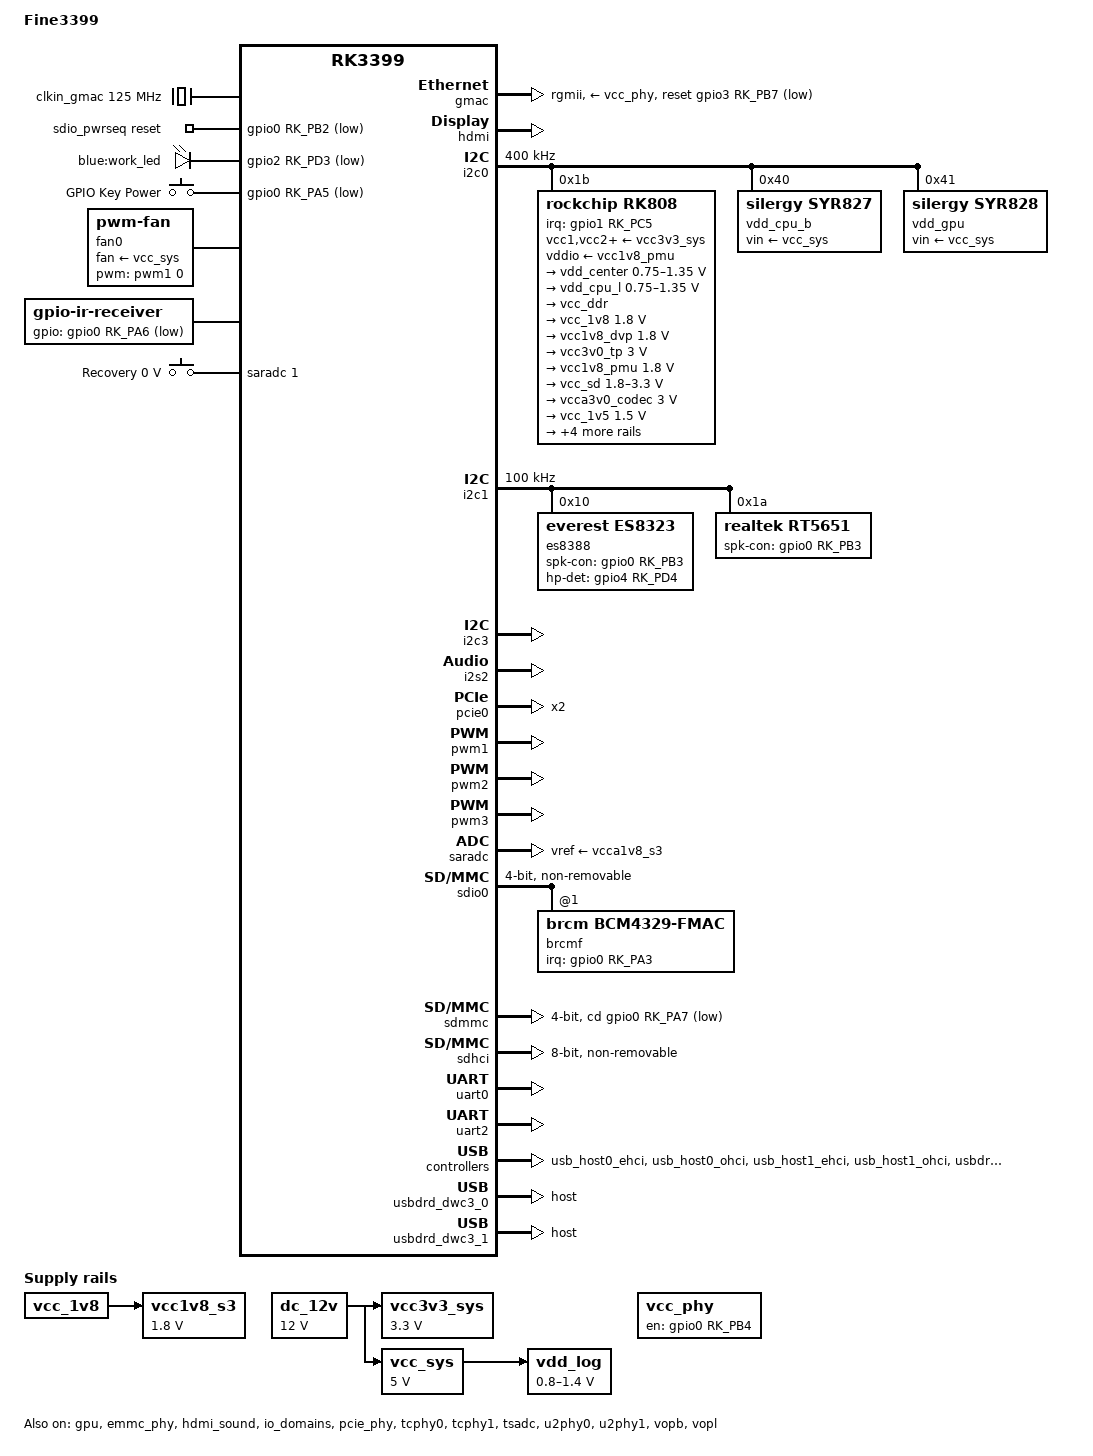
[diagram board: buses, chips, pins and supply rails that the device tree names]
// SPDX-License-Identifier: (GPL-2.0+ OR MIT)
/*
 * Copyright (c) 2023 https://github.com/cm9vdA/build-linux
 */

/dts-v1/;

#include <dt-bindings/input/linux-event-codes.h>
#include <dt-bindings/pwm/pwm.h>
#include <dt-bindings/input/input.h>
#include "rk3399.dtsi"
#include "rk3399-opp.dtsi"


/ {
	model = "Fine3399";
	compatible = "rockchip,rk3399";

	aliases {
		mmc0 = &sdio0;
		mmc1 = &sdmmc;
		mmc2 = &sdhci;
	};

	chosen {
		stdout-path = "serial2:1500000n8";
	};

	clkin_gmac: external-gmac-clock {
		compatible = "fixed-clock";
		clock-frequency = <125000000>;
		clock-output-names = "clkin_gmac";
		#clock-cells = <0>;
	};

	dc_12v: dc-12v {
		compatible = "regulator-fixed";
		regulator-name = "dc_12v";
		regulator-always-on;
		regulator-boot-on;
		regulator-min-microvolt = <12000000>;
		regulator-max-microvolt = <12000000>;
	};

	sdio_pwrseq: sdio-pwrseq {
		compatible = "mmc-pwrseq-simple";
		clocks = <&rk808 1>;
		clock-names = "ext_clock";
		pinctrl-names = "default";
		pinctrl-0 = <&wifi_reg_on_h>;
		reset-gpios = <&gpio0 RK_PB2 GPIO_ACTIVE_LOW>; // bsp
	};

	/* switched by pmic_sleep */
	vcc1v8_s3: vcca1v8_s3: vcc1v8-s3 {
		compatible = "regulator-fixed";
		regulator-name = "vcc1v8_s3";
		regulator-always-on;
		regulator-boot-on;
		regulator-min-microvolt = <1800000>;
		regulator-max-microvolt = <1800000>;
		vin-supply = <&vcc_1v8>;
	};

	vcc3v3_sys: vcc3v3_pcie: vcc3v3_bl: vcc3v3-sys { // sch
		compatible = "regulator-fixed";
		regulator-name = "vcc3v3_sys";
		regulator-always-on;
		regulator-boot-on;
		regulator-min-microvolt = <3300000>;
		regulator-max-microvolt = <3300000>;
		vin-supply = <&dc_12v>;
	};

	vcc_sys: vcc-sys { // sch
		compatible = "regulator-fixed";
		regulator-name = "vcc_sys";
		regulator-always-on;
		regulator-boot-on;
		regulator-min-microvolt = <5000000>;
		regulator-max-microvolt = <5000000>;
		vin-supply = <&dc_12v>;
	};

	vcc_phy: vcc-phy-regulator {
		compatible = "regulator-fixed";
		enable-active-high;
		gpio = <&gpio0 RK_PB4 GPIO_ACTIVE_HIGH>;
		pinctrl-names = "default";
		pinctrl-0 = <&vcc_phy_h>;
		regulator-name = "vcc_phy";
		regulator-always-on;
		regulator-boot-on;
	};

	vdd_log: vdd-log {
		compatible = "pwm-regulator";
		pwms = <&pwm2 0 25000 1>;
		regulator-name = "vdd_log";
		regulator-always-on;
		regulator-boot-on;
		regulator-min-microvolt = <800000>;
		regulator-max-microvolt = <1400000>;
		vin-supply = <&vcc_sys>;
	};
	
	es8388_sound: es8388-sound {
		compatible = "simple-audio-card";
		simple-audio-card,format = "i2s";
		simple-audio-card,name = "rockchip,es8388-codec";
		simple-audio-card,mclk-fs = <256>;
		simple-audio-card,widgets = "Microphone", "Mic Jack", "Headphone", "Headphone Jack";
		simple-audio-card,routing = "Mic Jack", "MICBIAS1", "IN1P", "Mic Jack", "Headphone Jack", "HPOL", "Headphone Jack", "HPOR";
		status = "okay";

		simple-audio-card,cpu {
			sound-dai = <&i2s1>;
			system-clock-frequency = <0xac4400>;
		};

		simple-audio-card,codec {
			sound-dai = <&es8388>;
			system-clock-frequency = <0xac4400>;
		};
	};

	rt5651_sound: rt5651-sound {
		compatible = "simple-audio-card";
		simple-audio-card,format = "i2s";
		simple-audio-card,name = "realtek,rt5651-codec";
		simple-audio-card,mclk-fs = <256>;
		simple-audio-card,widgets = "Microphone", "Mic Jack", "Headphone", "Headphone Jack";
		simple-audio-card,routing = "Mic Jack", "MICBIAS1", "IN1P", "Mic Jack", "Headphone Jack", "HPOL", "Headphone Jack", "HPOR";
		status = "disabled";

		simple-audio-card,cpu {
			sound-dai = <&i2s1>;
		};

		simple-audio-card,codec {
			sound-dai = <&rt5651>;
		};
	};

	leds: gpio-leds {
		compatible = "gpio-leds";
		pinctrl-names = "default";
		pinctrl-0 = <&user_led2>;

		user_led2 {
			label = "blue:work_led";
			gpios = <&gpio2 RK_PD3 GPIO_ACTIVE_LOW>; // sch
			linux,default-trigger = "heartbeat";
		};
	};

	gpio-keys {
		compatible = "gpio-keys";
		autorepeat;
		pinctrl-names = "default";
		pinctrl-0 = <&power_key>;

		power {
			debounce-interval = <100>;
			gpios = <&gpio0 RK_PA5 GPIO_ACTIVE_LOW>; // bsp
			label = "GPIO Key Power";
			linux,code = <KEY_POWER>;
			wakeup-source;
		};
	};

	fan0: pwm-fan {
		compatible = "pwm-fan";
		cooling-levels = <0 150 200 255>;
		#cooling-cells = <2>;
		fan-supply = <&vcc_sys>;
		pwms = <&pwm1 0 40000 0>;
	};

	// pwm3
	ir-receiver {
		compatible = "gpio-ir-receiver";
		gpios = <&gpio0 RK_PA6 GPIO_ACTIVE_LOW>;
		pinctrl-names = "default";
		pinctrl-0 = <&ir_int>;
	};

	adc-keys {
		compatible = "adc-keys";
		io-channels = <&saradc 1>;
		io-channel-names = "buttons";
		keyup-threshold-microvolt = <1750000>;
		poll-interval = <100>;

		recovery {
			label = "Recovery";
			linux,code = <KEY_VENDOR>; // ??
			press-threshold-microvolt = <0>;
		};
	};

};

&cpu_l0 {
	cpu-supply = <&vdd_cpu_l>;
};

&cpu_l1 {
	cpu-supply = <&vdd_cpu_l>;
};

&cpu_l2 {
	cpu-supply = <&vdd_cpu_l>;
};

&cpu_l3 {
	cpu-supply = <&vdd_cpu_l>;
};

&cpu_b0 {
	cpu-supply = <&vdd_cpu_b>;
};

&cpu_b1 {
	cpu-supply = <&vdd_cpu_b>;
};

&gpu {
	mali-supply = <&vdd_gpu>;
	status = "okay";
};

&cpu_thermal {
	trips {
		cpu_hot: cpu_hot {
			hysteresis = <10000>;
			temperature = <55000>;
			type = "active";
		};
	};

	cooling-maps {
		map2 {
			cooling-device =
				<&fan0 THERMAL_NO_LIMIT THERMAL_NO_LIMIT>;
			trip = <&cpu_hot>;
		};
	};
};

&emmc_phy {
	status = "okay";
};

&gmac {
	assigned-clocks = <&cru SCLK_RMII_SRC>;
	assigned-clock-parents = <&clkin_gmac>;
	clock_in_out = "input";
	phy-supply = <&vcc_phy>;
	phy-mode = "rgmii";
	pinctrl-names = "default";
	pinctrl-0 = <&rgmii_pins>;
	snps,reset-gpio = <&gpio3 RK_PB7 GPIO_ACTIVE_LOW>; // bsp
	snps,reset-active-low;
	snps,reset-delays-us = <0 10000 50000>;
	tx_delay = <0x28>;
	rx_delay = <0x11>;
	status = "okay";
};

&hdmi {
	ddc-i2c-bus = <&i2c3>;
	pinctrl-names = "default";
	pinctrl-0 = <&hdmi_cec>;
	status = "okay";
};

&hdmi_sound {
    simple-audio-card,name = "rockchip,hdmi";
	status = "okay";
};

&i2c0 {
	clock-frequency = <400000>;
	i2c-scl-rising-time-ns = <168>;
	i2c-scl-falling-time-ns = <4>;
	status = "okay";

	rk808: pmic@1b {
		compatible = "rockchip,rk808";
		reg = <0x1b>;
		interrupt-parent = <&gpio1>;
		interrupts = <RK_PC5 IRQ_TYPE_LEVEL_LOW>;
		#clock-cells = <1>;
		clock-output-names = "xin32k", "rk808-clkout2";
		pinctrl-names = "default";
		pinctrl-0 = <&pmic_int_l &pmic_dvs2>;
		rockchip,system-power-controller;
		wakeup-source;

		vcc1-supply = <&vcc3v3_sys>;
		vcc2-supply = <&vcc3v3_sys>;
		vcc3-supply = <&vcc3v3_sys>;
		vcc4-supply = <&vcc3v3_sys>;
		vcc6-supply = <&vcc3v3_sys>;
		vcc7-supply = <&vcc3v3_sys>;
		vcc8-supply = <&vcc3v3_sys>;
		vcc9-supply = <&vcc3v3_sys>;
		vcc10-supply = <&vcc3v3_sys>;
		vcc11-supply = <&vcc3v3_sys>;
		vcc12-supply = <&vcc3v3_sys>;
		vddio-supply = <&vcc1v8_pmu>;

		regulators {
			vdd_center: DCDC_REG1 {
				regulator-name = "vdd_center";
				regulator-always-on;
				regulator-boot-on;
				regulator-min-microvolt = <750000>;
				regulator-max-microvolt = <1350000>;
				regulator-ramp-delay = <6001>;
				regulator-state-mem {
					regulator-off-in-suspend;
				};
			};

			vdd_cpu_l: DCDC_REG2 {
				regulator-name = "vdd_cpu_l";
				regulator-always-on;
				regulator-boot-on;
				regulator-min-microvolt = <750000>;
				regulator-max-microvolt = <1350000>;
				regulator-ramp-delay = <6001>;
				regulator-state-mem {
					regulator-off-in-suspend;
				};
			};

			vcc_ddr: DCDC_REG3 {
				regulator-name = "vcc_ddr";
				regulator-always-on;
				regulator-boot-on;
				regulator-state-mem {
					regulator-on-in-suspend;
				};
			};

			vcc_1v8: DCDC_REG4 {
				regulator-name = "vcc_1v8";
				regulator-always-on;
				regulator-boot-on;
				regulator-min-microvolt = <1800000>;
				regulator-max-microvolt = <1800000>;
				regulator-state-mem {
					regulator-on-in-suspend;
					regulator-suspend-microvolt = <1800000>;
				};
			};

			vcc1v8_dvp: LDO_REG1 {
				regulator-name = "vcc1v8_dvp";
				regulator-always-on;
				regulator-boot-on;
				regulator-min-microvolt = <1800000>;
				regulator-max-microvolt = <1800000>;
				regulator-state-mem {
					regulator-off-in-suspend;
				};
			};

			vcc3v0_tp: LDO_REG2 {
				regulator-always-on;
				regulator-boot-on;
				regulator-min-microvolt = <3000000>;
				regulator-max-microvolt = <3000000>;
				regulator-name = "vcc3v0_tp";
				regulator-state-mem {
					regulator-off-in-suspend;
				};
			};

			vcc1v8_pmu: LDO_REG3 {
				regulator-name = "vcc1v8_pmu";
				regulator-always-on;
				regulator-boot-on;
				regulator-min-microvolt = <1800000>;
				regulator-max-microvolt = <1800000>;
				regulator-state-mem {
					regulator-on-in-suspend;
					regulator-suspend-microvolt = <1800000>;
				};
			};

			vcc_sd: LDO_REG4 {
				regulator-name = "vcc_sd";
				regulator-always-on;
				regulator-boot-on;
				regulator-min-microvolt = <1800000>;
				regulator-max-microvolt = <3300000>;
				regulator-state-mem {
					regulator-on-in-suspend;
					regulator-suspend-microvolt = <3300000>;
				};
			};

			vcca3v0_codec: LDO_REG5 {
				regulator-name = "vcca3v0_codec";
				regulator-always-on;
				regulator-boot-on;
				regulator-min-microvolt = <3000000>;
				regulator-max-microvolt = <3000000>;
				regulator-state-mem {
					regulator-off-in-suspend;
				};
			};

			vcc_1v5: LDO_REG6 {
				regulator-name = "vcc_1v5";
				regulator-always-on;
				regulator-boot-on;
				regulator-min-microvolt = <1500000>;
				regulator-max-microvolt = <1500000>;
				regulator-state-mem {
					regulator-on-in-suspend;
					regulator-suspend-microvolt = <1500000>;
				};
			};

			vcca1v8_codec: LDO_REG7 {
				regulator-name = "vcca1v8_codec";
				regulator-always-on;
				regulator-boot-on;
				regulator-min-microvolt = <1800000>;
				regulator-max-microvolt = <1800000>;
				regulator-state-mem {
					regulator-off-in-suspend;
				};
			};

			vcc_3v0: LDO_REG8 {
				regulator-name = "vcc_3v0";
				regulator-always-on;
				regulator-boot-on;
				regulator-min-microvolt = <3000000>;
				regulator-max-microvolt = <3000000>;
				regulator-state-mem {
					regulator-on-in-suspend;
					regulator-suspend-microvolt = <3000000>;
				};
			};

			vcc3v3_s3: SWITCH_REG1 {
				regulator-name = "vcc3v3_s3";
				regulator-always-on;
				regulator-boot-on;
				regulator-state-mem {
					regulator-off-in-suspend;
				};
			};

			vcc3v3_s0: SWITCH_REG2 {
				regulator-name = "vcc3v3_s0";
				regulator-always-on;
				regulator-boot-on;
				regulator-state-mem {
					regulator-off-in-suspend;
				};
			};
		};
	};

	vdd_cpu_b: regulator@40 {
		compatible = "silergy,syr827";
		reg = <0x40>;
		fcs,suspend-voltage-selector = <1>;
		pinctrl-names = "default";
		pinctrl-0 = <&cpu_b_sleep>;
		regulator-name = "vdd_cpu_b";
		regulator-min-microvolt = <712500>;
		regulator-max-microvolt = <1500000>;
		regulator-ramp-delay = <1000>;
		regulator-always-on;
		regulator-boot-on;
		vin-supply = <&vcc_sys>;

		regulator-state-mem {
			regulator-off-in-suspend;
		};
	};

	vdd_gpu: regulator@41 {
		compatible = "silergy,syr828";
		reg = <0x41>;
		fcs,suspend-voltage-selector = <1>;
		pinctrl-names = "default";
		pinctrl-0 = <&gpu_sleep>;
		regulator-name = "vdd_gpu";
		regulator-min-microvolt = <712500>;
		regulator-max-microvolt = <1500000>;
		regulator-ramp-delay = <1000>;
		regulator-always-on;
		regulator-boot-on;
		vin-supply = <&vcc_sys>;

		regulator-state-mem {
			regulator-off-in-suspend;
		};
	};
};

&i2c1 {
    clocks = <&cru SCLK_I2C1>, <&cru PCLK_I2C1>;
	clock-names = "i2c", "pclk";
	i2c-scl-rising-time-ns = <600>;
	i2c-scl-falling-time-ns = <15>;
	i2c_scl_falling-time-ns = <20>;
	clock-frequency = <100000>;
    status = "okay";

    es8388: es8388@10 {
		#sound-dai-cells = <0x00>;
		compatible = "everest,es8323";
		reg = <0x10>;
		clocks = <&cru SCLK_I2S_8CH_OUT>;
		clock-names = "mclk";
		pinctrl-names = "default";
		pinctrl-0 = <&i2s_8ch_mclk>;
		spk-con-gpio = <&gpio0 RK_PB3 GPIO_ACTIVE_HIGH>;
		hp-det-gpio = <&gpio4 RK_PD4 GPIO_ACTIVE_HIGH>;
		status = "okay";
	};

	rt5651: rt5651@1a {
		#sound-dai-cells = <0x00>;
		compatible = "realtek,rt5651";
		reg = <0x1a>;
		clocks = <&cru SCLK_I2S_8CH_OUT>;
		clock-names = "mclk";
		pinctrl-names = "default";
		pinctrl-0 = <&i2s_8ch_mclk>;
		spk-con-gpio = <&gpio0 RK_PB3 GPIO_ACTIVE_HIGH>;
		status = "okay";
	};

};

// Used for HDMI
&i2c3 {
	i2c-scl-rising-time-ns = <450>;
	i2c-scl-falling-time-ns = <15>;
	status = "okay";
};

&i2s0 {
    i2s_8ch_mclk: i2s-8ch-mclk {
        rockchip,pins = <4 RK_PA0 1 &pcfg_pull_none>;
    };
};

// HDMI sound
&i2s2 {
	#sound-dai-cells = <0>;
	status = "okay";
};

&io_domains {
	status = "okay";

	bt656-supply = <&vcc_3v0>;
	audio-supply = <&vcca1v8_codec>;
	sdmmc-supply = <&vcc_sd>;
	gpio1830-supply = <&vcc_3v0>;
};

&pmu_io_domains {
	status = "okay";
	pmu1830-supply = <&vcc_1v8>;
};

&pcie_phy {
	status = "okay";
};

&pcie0 {
	ep-gpios = <&gpio4 RK_PD3 GPIO_ACTIVE_HIGH>; // sch
	max-link-speed = <2>;
	num-lanes = <2>;
	pinctrl-names = "default";
	pinctrl-0 = <&pcie_clkreqn_cpm>;
	status = "okay";
};

&pinctrl {
	pmic {
		cpu_b_sleep: cpu-b-sleep {
			rockchip,pins = <1 RK_PC1 RK_FUNC_GPIO &pcfg_pull_down>;
		};

		gpu_sleep: gpu-sleep {
			rockchip,pins = <1 RK_PB6 RK_FUNC_GPIO &pcfg_pull_down>;
		};

		pmic_int_l: pmic-int-l {
			rockchip,pins = <1 RK_PB2 RK_FUNC_GPIO &pcfg_pull_up>;
		};

		pmic_dvs2: pmic-dvs2 {
			rockchip,pins = <1 RK_PC2 RK_FUNC_GPIO &pcfg_pull_down>; // bsp
		};
	};

	sdio-pwrseq {
		wifi_reg_on_h: wifi-reg-on-h {
			rockchip,pins = <0 RK_PB2 RK_FUNC_GPIO &pcfg_pull_none>;
		};
	};

	wifi {
		wifi_host_wake_l: wifi-host-wake-l {
			rockchip,pins = <0 RK_PA3 RK_FUNC_GPIO &pcfg_pull_none>;
		};
	};

	bt {
	    uart0_gpios: uart0-gpios {
            rockchip,pins = <2 RK_PC3 0 &pcfg_pull_none>;
        };
        
		bt_enable_h: bt-enable-h {
			rockchip,pins = <0 RK_PB1 RK_FUNC_GPIO &pcfg_pull_none>;
		};

		bt_host_wake_l: bt-host-wake-l {
			rockchip,pins = <0 RK_PA4 RK_FUNC_GPIO &pcfg_pull_down>;
		};

		bt_wake_l: bt-wake-l {
			rockchip,pins = <2 RK_PD2 RK_FUNC_GPIO &pcfg_pull_none>;
		};
	};

	gmac {
		vcc_phy_h: vcc-phy-h {
			rockchip,pins = <0 RK_PB4 RK_FUNC_GPIO &pcfg_pull_up>;
		};
	};

	leds {
		user_led2: user_led2 {
			rockchip,pins =
				<2 RK_PD3 RK_FUNC_GPIO &pcfg_pull_none>;
		};
	};

	ir {
		ir_int: ir-int {
			rockchip,pins = <0 RK_PA6 RK_FUNC_GPIO &pcfg_pull_none>;
		};
	};

	buttons {
		power_key: power_key {
			rockchip,pins = 
				<0 RK_PA5 RK_FUNC_GPIO &pcfg_pull_up>;
		};
	};
};
/*
// TFT
&pwm0 {
	status = "okay";
};
*/
// FAN
&pwm1 {
	status = "okay";
};

&pwm2 {
	status = "okay";
};

&pwm3 {
    compatible = "rockchip,remotectl-pwm";
	pinctrl-names = "active";
	interrupts = <RK_PA0 61 IRQ_TYPE_LEVEL_HIGH 0>;
	remote_pwm_id = <3>;
	handle_cpu_id = <0>;
	status = "okay";

	ir_key0 {
		rockchip,usercode = <0xff40>;
		rockchip,key_table = 
            <0xb2 KEY_POWER>,
            <0xe5 KEY_HOME>,
            <0xbd KEY_BACK>,
            <0xba KEY_MENU>,
            <0xf4 KEY_UP>,
            <0xf1 KEY_DOWN>,
            <0xef KEY_LEFT>,
            <0xee KEY_RIGHT>,
            <0xf2 KEY_ENTER>,
            <0xf0 KEY_REPLY>,
            <0xea KEY_VOLUMEUP>,
            <0xe3 KEY_VOLUMEDOWN>,
            <0xbc KEY_MUTE>,
            <0xfe KEY_PROG2>,
            <0xfd KEY_PROG3>,
            <0xfc KEY_PROG4>,
            <0xfb KEY_KP5>,
            <0xfa KEY_KP6>,
            <0xf9 KEY_KP7>,
            <0xf8 KEY_KP8>,
            <0xf7 KEY_KP9>,
            <0xb6 KEY_F10>,
            <0xff KEY_F11>,
            <0xed KEY_F14>,
            <0xaf KEY_POWER>,
            <0x8b KEY_VOLUMEUP>,
            <0xb9 KEY_VOLUMEDOWN>;
	};
};

&pmucru {
	assigned-clocks = <&pmucru PLL_PPLL>, <&pmucru FCLK_CM0S_SRC_PMU>;
	assigned-clock-rates = <676000000 97000000>;
};

&cru {
	assigned-clocks = <&cru ACLK_PERIHP>,
        <&cru ACLK_PERILP0>,
        <&cru HCLK_PERILP1>,
        <&cru SCLK_SDMMC>,
        <&cru ACLK_EMMC>,
        <&cru ACLK_CENTER>,
        <&cru HCLK_SD>,
        <&cru SCLK_SDIO_DRV>,
        <&cru SCLK_VDU_CORE>,
        <&cru ACLK_USB3>,
        <&cru FCLK_CM0S>,
        <&cru ACLK_CCI>,
        <&cru PCLK_ALIVE>,
        <&cru ACLK_GMAC>,
        <&cru SCLK_CS>,
        <&cru SCLK_CCI_TRACE>,
        <&cru ARMCLKL>,
        <&cru ARMCLKB>,
        <&cru PLL_NPLL>,
        <&cru ACLK_GPU>,
        <&cru PLL_GPLL>,
        <&cru ACLK_PERIHP>,
        <&cru HCLK_PERIHP>,
        <&cru PCLK_PERIHP>,
        <&cru ACLK_PERILP0>,
        <&cru HCLK_PERILP0>,
        <&cru PCLK_PERILP0>,
        <&cru HCLK_PERILP1>,
        <&cru PCLK_PERILP1>,
        <&cru SCLK_I2C1>,
        <&cru SCLK_I2C2>,
        <&cru SCLK_I2C3>,
        <&cru SCLK_I2C5>,
        <&cru SCLK_I2C6>,
        <&cru SCLK_I2C7>,
        <&cru SCLK_SPI0>,
        <&cru SCLK_SPI1>,
        <&cru SCLK_SPI2>,
        <&cru SCLK_SPI4>,
        <&cru SCLK_SPI5>,
        <&cru ACLK_GIC>,
        <&cru ACLK_ISP0>,
        <&cru ACLK_ISP1>,
        <&cru SCLK_VOP0_PWM>,
        <&cru SCLK_VOP1_PWM>,
        <&cru PCLK_EDP>,
        <&cru ACLK_HDCP>,
        <&cru ACLK_VIO>,
        <&cru HCLK_SD>,
        <&cru SCLK_CRYPTO0>,
        <&cru SCLK_CRYPTO1>,
        <&cru SCLK_EMMC>,
        <&cru ACLK_EMMC>,
        <&cru ACLK_CENTER>,
        <&cru ACLK_IEP>,
        <&cru ACLK_RGA>,
        <&cru SCLK_RGA_CORE>,
        <&cru ACLK_VDU>,
        <&cru ACLK_VCODEC>,
        <&cru PCLK_DDR>,
        <&cru ACLK_GMAC>,
        <&cru SCLK_VDU_CA>,
        <&cru SCLK_VDU_CORE>,
        <&cru ACLK_USB3>,
        <&cru FCLK_CM0S>,
        <&cru ACLK_CCI>,
        <&cru PCLK_ALIVE>,
        <&cru SCLK_CS>,
        <&cru SCLK_CCI_TRACE>,
        <&cru ACLK_VOP0>,
        <&cru HCLK_VOP0>,
        <&cru ACLK_VOP1>,
        <&cru HCLK_VOP1>;
	assigned-clock-rates = <75000000>, <50000000>,
        <50000000>, <50000000>,
        <50000000>, <100000000>,
        <50000000>, <150000000>,
        <150000000>, <150000000>,
        <50000000>, <150000000>,
        <50000000>, <100000000>,
        <75000000>, <75000000>,
        <816000000>, <816000000>,
        <600000000>, <200000000>,
        <800000000>, <150000000>,
        <75000000>, <37500000>,
        <300000000>, <100000000>,
        <50000000>, <100000000>,
        <50000000>, <100000000>,
        <100000000>, <100000000>,
        <100000000>, <100000000>,
        <100000000>, <50000000>,
        <50000000>, <50000000>,
        <50000000>, <50000000>,
        <200000000>, <400000000>,
        <400000000>, <100000000>,
        <100000000>, <100000000>,
        <400000000>, <400000000>,
        <200000000>, <100000000>,
        <200000000>, <200000000>,
        <100000000>, <400000000>,
        <400000000>, <400000000>,
        <400000000>, <300000000>,
        <400000000>, <200000000>,
        <400000000>, <300000000>,
        <300000000>, <300000000>,
        <300000000>, <300000000>,
        <100000000>, <150000000>,
        <150000000>, <400000000>,
        <100000000>, <400000000>,
        <100000000>;
};

&saradc {
	vref-supply = <&vcca1v8_s3>;
	status = "okay";
};

&sdio0 {
	bus-width = <4>;
	cap-sd-highspeed;
	cap-sdio-irq;
	clock-frequency = <50000000>;
	disable-wp;
	keep-power-in-suspend;
	max-frequency = <50000000>;
	mmc-pwrseq = <&sdio_pwrseq>;
	non-removable;
	pinctrl-names = "default";
	pinctrl-0 = <&sdio0_bus4 &sdio0_cmd &sdio0_clk>;
	sd-uhs-sdr104;
	#address-cells = <1>;
	#size-cells = <0>;
	status = "okay";

	brcmf: wifi@1 {
		reg = <1>;
		compatible = "brcm,bcm4329-fmac";
		interrupt-parent = <&gpio0>;
		interrupts = <RK_PA3 GPIO_ACTIVE_HIGH>;
		interrupt-names = "host-wake";
		brcm,drive-strength = <5>;
		pinctrl-names = "default";
		pinctrl-0 = <&wifi_host_wake_l>;
	};
};

&sdmmc {
	bus-width = <4>;
	cap-sd-highspeed;
	cd-gpios = <&gpio0 RK_PA7 GPIO_ACTIVE_LOW>; // bsp
	clock-frequency = <150000000>;
	disable-wp;
	sd-uhs-sdr104;
	max-frequency = <150000000>;
	pinctrl-names = "default";
	pinctrl-0 = <&sdmmc_clk &sdmmc_cmd &sdmmc_cd &sdmmc_bus4>;
	vqmmc-supply = <&vcc_sd>;
	status = "okay";
};

&sdhci {
	bus-width = <8>;
	mmc-hs400-1_8v;
	mmc-hs400-enhanced-strobe;
	keep-power-in-suspend;
	non-removable;
	status = "okay";
};
/*
&spi1 {
	status = "okay";

	norflash: flash@0 {
		compatible = "jedec,spi-nor";
		reg = <0>;
		spi-max-frequency = <50000000>;
	};
};
*/
/*
&spi2 {
	status = "okay";
	pinctrl-names = "default";
	pinctrl-0 = <&spi2_clk &spi2_tx &spi2_cs0>;

	panel@0 {
		compatible = "sitronix,st7789v";
		reg = <0>;
		// backlight = <&pwm0>;
		dc-gpios = <&gpio4 RK_PD5 GPIO_ACTIVE_HIGH>;
		reset-gpios = <&gpio4 RK_PD1 GPIO_ACTIVE_LOW>;
		led-gpios = <&gpio4 RK_PC2 GPIO_ACTIVE_HIGH>;  
		spi-max-frequency = <15000000>;
		spi-cs-high;
		status = "okay";
	};
};
*/
&tcphy0 {
	status = "okay";
};

&tcphy1 {
	status = "okay";
};

&tsadc {
	/* tshut mode 0:CRU 1:GPIO */
	rockchip,hw-tshut-mode = <1>;
	/* tshut polarity 0:LOW 1:HIGH */
	rockchip,hw-tshut-polarity = <1>;
	status = "okay";
};

&u2phy0 {
	status = "okay";

	u2phy0_otg: otg-port {
		status = "okay";
	};

	u2phy0_host: host-port {
		status = "okay";
	};
};

&u2phy1 {
	status = "okay";

	u2phy1_otg: otg-port {
		status = "okay";
	};

	u2phy1_host: host-port {
		status = "okay";
	};
};

&uart0 {
	pinctrl-0 = <&uart0_xfer &uart0_cts>;
	assigned-clocks = <&cru SRST_H_PERILP0_NOC>;
	assigned-clock-parents = <&cru PLL_GPLL>;
	status = "okay";

	bluetooth {
		compatible = "bluetooth-platdata";
		clocks = <&rk808 PLL_APLLL>;
		clock-names = "ext_clock";
		device-wakeup-gpios = <&gpio2 RK_PD2 GPIO_ACTIVE_HIGH>;
		host-wakeup-gpios = <&gpio0 RK_PA4 GPIO_ACTIVE_HIGH>;
		shutdown-gpios = <&gpio0 RK_PB1 GPIO_ACTIVE_HIGH>;
		max-speed = <4000000>;
		uart_rts_gpios = <&gpio2 19 GPIO_ACTIVE_HIGH>;
    	pinctrl-names = "default", "rts_gpio";
		pinctrl-0 = <&uart0_rts>;
		pinctrl-1 = <&uart0_gpios>;
		vbat-supply = <&vcc3v3_sys>;
		vddio-supply = <&vcc_1v8>;
	};
};

// Debug TTL
&uart2 {
	status = "okay";
};

&usb_host0_ehci {
	status = "okay";
};

&usb_host0_ohci {
	status = "okay";
};

&usb_host1_ehci {
	status = "okay";
};

&usb_host1_ohci {
	status = "okay";
};

&usbdrd3_0 {
	status = "okay";
};

&usbdrd_dwc3_0 {
	status = "okay";
	dr_mode = "host";
};

&usbdrd3_1 {
	status = "okay";
};

&usbdrd_dwc3_1 {
	status = "okay";
	dr_mode = "host";
};

&vopb {
	status = "okay";
};

&vopb_mmu {
	status = "okay";
};

&vopl {
	status = "okay";
};

&vopl_mmu {
	status = "okay";
};

&iep_mmu {
	status = "okay";
};
